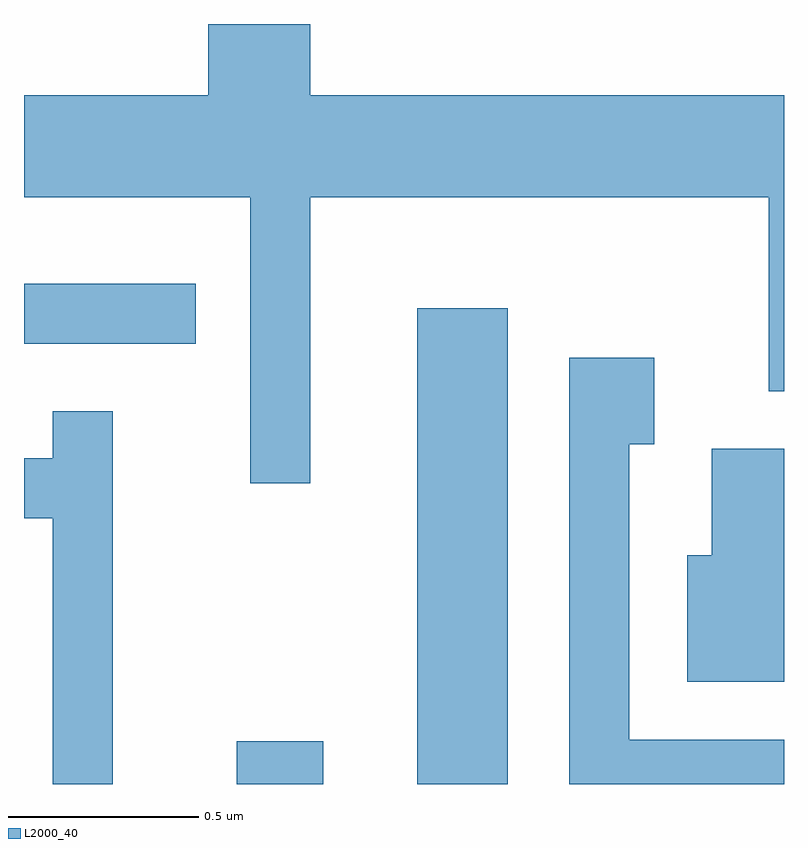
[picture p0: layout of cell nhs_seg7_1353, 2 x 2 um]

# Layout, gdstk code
import gdstk
lib = gdstk.Library(unit=1e-6, precision=1e-09)
def R(c, l, rs):  # rectangles x0, y0, x1, y1
    for r in rs: c.add(gdstk.rectangle(r[:2], r[2:], *l))
def P(c, l, *ps):  # polygons
    for p in ps: c.add(gdstk.Polygon(p, *l))
L2000_40 = (2000, 40)

nhs_seg7_1353 = lib.new_cell('nhs_seg7_1353')
R(nhs_seg7_1353, L2000_40, [(195.171,1788.252,195.399,1788.364), (195.646,1788.252,195.884,1789.504), (194.611,1789.411,195.063,1789.569)])
P(nhs_seg7_1353, L2000_40, [(195.364,1789.796),(196.571,1789.796),(196.571,1789.286),(196.611,1789.286),(196.611,1790.064),(195.364,1790.064),(195.364,1790.252),(195.096,1790.252),(195.096,1790.064),(194.611,1790.064),(194.611,1789.796),(195.206,1789.796),(195.206,1789.043),(195.364,1789.043)],
  [(196.611,1788.369),(196.204,1788.369),(196.204,1789.146),(196.269,1789.146),(196.269,1789.374),(196.046,1789.374),(196.046,1788.252),(196.611,1788.252)],
  [(194.844,1789.233),(194.686,1789.233),(194.686,1789.109),(194.611,1789.109),(194.611,1788.951),(194.686,1788.951),(194.686,1788.252),(194.844,1788.252)],
  [(196.611,1789.134),(196.421,1789.134),(196.421,1788.854),(196.356,1788.854),(196.356,1788.521),(196.611,1788.521)])

lib.write_gds('nhs_seg7_1353.gds')
